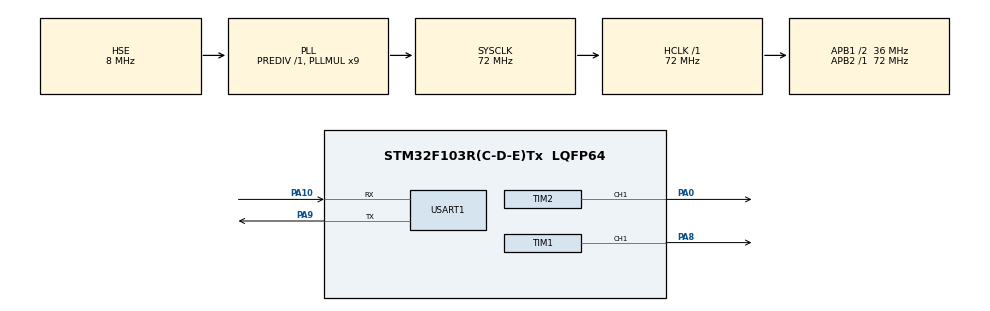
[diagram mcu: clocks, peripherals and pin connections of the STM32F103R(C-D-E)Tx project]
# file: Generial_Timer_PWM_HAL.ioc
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Mcu.Family=STM32F1
Mcu.Name=STM32F103R(C-D-E)Tx
Mcu.Package=LQFP64
NVIC.PriorityGroup=NVIC_PRIORITYGROUP_4
PA0-WKUP.Signal=S_TIM2_CH1_ETR
PA10.Mode=Asynchronous
PA10.Signal=USART1_RX
PA13.Mode=Serial_Wire
PA13.Signal=SYS_JTMS-SWDIO
PA14.Mode=Serial_Wire
PA14.Signal=SYS_JTCK-SWCLK
PA8.Signal=S_TIM1_CH1
PA9.Mode=Asynchronous
PA9.Signal=USART1_TX
PC14-OSC32_IN.Mode=LSE-External-Oscillator
PC14-OSC32_IN.Signal=RCC_OSC32_IN
PC15-OSC32_OUT.Mode=LSE-External-Oscillator
PC15-OSC32_OUT.Signal=RCC_OSC32_OUT
PD0-OSC_IN.Mode=HSE-External-Oscillator
PD0-OSC_IN.Signal=RCC_OSC_IN
PD1-OSC_OUT.Mode=HSE-External-Oscillator
PD1-OSC_OUT.Signal=RCC_OSC_OUT
ProjectManager.HeapSize=0x200
ProjectManager.StackSize=0x400
ProjectManager.TargetToolchain=STM32CubeIDE
RCC.AHBFreq_Value=72000000
RCC.APB1CLKDivider=RCC_HCLK_DIV2
RCC.APB1Freq_Value=36000000
RCC.APB1TimFreq_Value=72000000
RCC.APB2Freq_Value=72000000
RCC.APB2TimFreq_Value=72000000
RCC.HCLKFreq_Value=72000000
RCC.PLLMUL=RCC_PLL_MUL9
RCC.PLLSourceVirtual=RCC_PLLSOURCE_HSE
RCC.SYSCLKFreq_VALUE=72000000
RCC.SYSCLKSource=RCC_SYSCLKSOURCE_PLLCLK
RCC.USBFreq_Value=72000000
SH.S_TIM1_CH1.0=TIM1_CH1,PWM Generation1 CH1
SH.S_TIM2_CH1_ETR.0=TIM2_CH1,PWM Generation1 CH1
TIM1.AutoReloadPreload=TIM_AUTORELOAD_PRELOAD_ENABLE
TIM1.Channel-PWM\ Generation1\ CH1=TIM_CHANNEL_1
TIM1.OC1Preload_PWM=DISABLE
TIM1.Period=250-1
TIM1.Prescaler=72-1
TIM2.AutoReloadPreload=TIM_AUTORELOAD_PRELOAD_ENABLE
TIM2.Channel-PWM\ Generation1\ CH1=TIM_CHANNEL_1
TIM2.OCMode_PWM-PWM\ Generation1\ CH1=TIM_OCMODE_PWM1
TIM2.Period=500-1
TIM2.Prescaler=720-1
USART1.VirtualMode=VM_ASYNC
VP_TIM1_VS_ClockSourceINT.Mode=Internal
VP_TIM2_VS_ClockSourceINT.Mode=Internal
board=custom

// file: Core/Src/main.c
/* USER CODE BEGIN Header */
/**
  ******************************************************************************
  * @file           : main.c
  * @brief          : Main program body
  ******************************************************************************
  * @attention
  *
  * Copyright (c) 2023 STMicroelectronics.
  * All rights reserved.
  *
  * This software is licensed under terms that can be found in the LICENSE file
  * in the root directory of this software component.
  * If no LICENSE file comes with this software, it is provided AS-IS.
  *
  ******************************************************************************
  */
/* USER CODE END Header */
#include "main.h"
#include "tim.h"
#include "usart.h"
#include "gpio.h"

/* USER CODE BEGIN Includes */
#include "retarget.h"
/* USER CODE END Includes */

void SystemClock_Config(void);

int main(void)
{

  /* USER CODE BEGIN 1 */
    RetargetInit(&huart1);
  /* USER CODE END 1 */

  /* MCU Configuration--------------------------------------------------------*/

  /* Reset of all peripherals, Initializes the Flash interface and the Systick. */
  HAL_Init();

  /* Configure the system clock */
  SystemClock_Config();

  /* Initialize all configured peripherals */
  MX_GPIO_Init();
  MX_USART1_UART_Init();
  MX_TIM2_Init();
  MX_TIM1_Init();
  /* USER CODE BEGIN 2 */
  uint16_t lightPWDValue = 0;
  uint8_t  dir =1;
  /* USER CODE END 2 */

  /* Infinite loop */
  /* USER CODE BEGIN WHILE */
    HAL_TIM_PWM_Start(&htim2, TIM_CHANNEL_1);
    HAL_TIM_PWM_Start(&htim1, TIM_CHANNEL_1);
    uint32_t  sysFreqTimer2 = HAL_RCC_GetSysClockFreq();
    uint32_t  prescalerTimer2 = htim2.Init.Prescaler;
    uint32_t  periodTimer2 = htim2.Init.Period;

    uint32_t  sysFreqTimer1 = HAL_RCC_GetSysClockFreq();
    uint32_t  prescalerTimer1 = htim1.Init.Prescaler;
    uint32_t  periodTimer1 = htim1.Init.Period;
  while (1)
  {
    /* USER CODE END WHILE */

    /* USER CODE BEGIN 3 */
      HAL_Delay(10);
      if(dir)
      {
          lightPWDValue++;
      }
      else
      {
          lightPWDValue--;
      }

      if(lightPWDValue > 250)
          dir = 0;
      if(lightPWDValue == 0)
          dir = 1;
      __HAL_TIM_SetCompare(&htim1, TIM_CHANNEL_1, lightPWDValue);
      printf("Freq: %d\t", (int)(sysFreqTimer1 / (prescalerTimer1 + 1)/ (periodTimer1 +1)));
      printf("Duty: %f\n", ((lightPWDValue* 1.0) / periodTimer1) * 100 );
      printf("CCR=%lu:\n", __HAL_TIM_GET_COMPARE(&htim1, TIM_CHANNEL_1));
      printf("PWM=%d:\b", __HAL_TIM_GET_COUNTER(&htim1) > lightPWDValue ? 0: 1);
      printf("=============================================\n");
  }
  /* USER CODE END 3 */
}

void SystemClock_Config(void)
{
  RCC_OscInitTypeDef RCC_OscInitStruct = {0};
  RCC_ClkInitTypeDef RCC_ClkInitStruct = {0};

  /** Initializes the RCC Oscillators according to the specified parameters
  * in the RCC_OscInitTypeDef structure.
  */
  RCC_OscInitStruct.OscillatorType = RCC_OSCILLATORTYPE_HSE;
  RCC_OscInitStruct.HSEState = RCC_HSE_ON;
  RCC_OscInitStruct.HSEPredivValue = RCC_HSE_PREDIV_DIV1;
  RCC_OscInitStruct.HSIState = RCC_HSI_ON;
  RCC_OscInitStruct.PLL.PLLState = RCC_PLL_ON;
  RCC_OscInitStruct.PLL.PLLSource = RCC_PLLSOURCE_HSE;
  RCC_OscInitStruct.PLL.PLLMUL = RCC_PLL_MUL9;
  if (HAL_RCC_OscConfig(&RCC_OscInitStruct) != HAL_OK)
  {
    Error_Handler();
  }

  /** Initializes the CPU, AHB and APB buses clocks
  */
  RCC_ClkInitStruct.ClockType = RCC_CLOCKTYPE_HCLK|RCC_CLOCKTYPE_SYSCLK
                              |RCC_CLOCKTYPE_PCLK1|RCC_CLOCKTYPE_PCLK2;
  RCC_ClkInitStruct.SYSCLKSource = RCC_SYSCLKSOURCE_PLLCLK;
  RCC_ClkInitStruct.AHBCLKDivider = RCC_SYSCLK_DIV1;
  RCC_ClkInitStruct.APB1CLKDivider = RCC_HCLK_DIV2;
  RCC_ClkInitStruct.APB2CLKDivider = RCC_HCLK_DIV1;

  if (HAL_RCC_ClockConfig(&RCC_ClkInitStruct, FLASH_LATENCY_2) != HAL_OK)
  {
    Error_Handler();
  }
}

void Error_Handler(void)
{
  __disable_irq();
  while (1)
  {
  }
}
